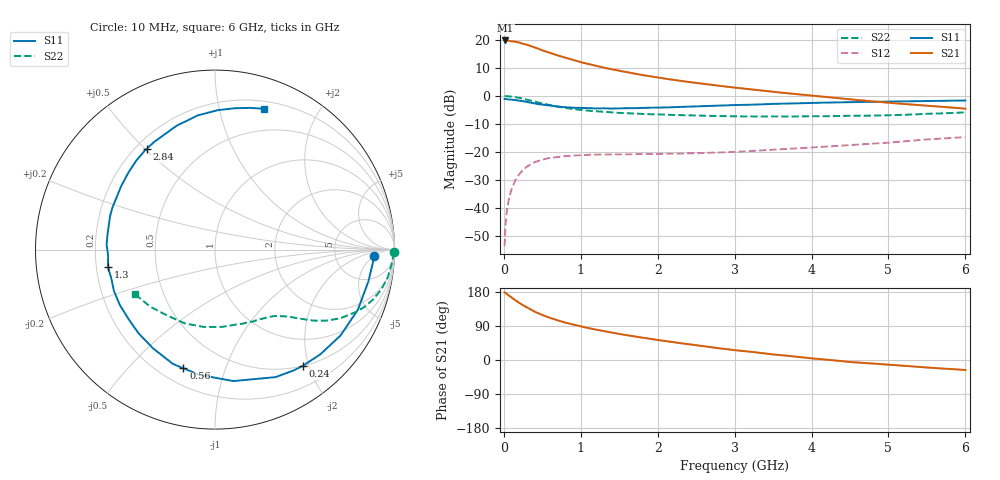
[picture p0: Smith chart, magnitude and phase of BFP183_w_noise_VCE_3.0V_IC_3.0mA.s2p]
! Infineon Technologies  Discrete & RF Semiconductors
! BFP183
! VCE = 3.0 V,  IC =  3.0 mA
! Common Emitter S-Parameters:  Jan 2016
# GHz  S  MA  R  50
!  f  S11  S21  S12  S22
! GHz  MAG  ANG  MAG  ANG  MAG  ANG  MAG  ANG
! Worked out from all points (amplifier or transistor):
!   210 points, 10 MHz to 6 GHz, reference 50 ohm
!   highest |S21| = 19.8 dB at 20 MHz (marker M1)
!   |S21| within 3 dB of that: start of sweep to 451.3 MHz
!   unconditionally stable (mu >= 1): 1.887 GHz to 5.866 GHz
!   at 185 MHz: K = 0.12, MSG = 23.8 dB, |S12| = -28.5 dB
!   at 1.52 GHz: K = 0.84, MSG = 14.8 dB, |S12| = -20.8 dB
!   at 6 GHz: K = 0.97, MSG = 5.1 dB, |S12| = -14.7 dB
!   lowest NFmin = 1.10 dB at 450 MHz
!   S11 on the Smith chart (normalised r, x): 10 MHz: 15, -5; 240 MHz: 0.50, -1.91; 560 MHz: 0.29, -0.73; 1.3 GHz: 0.25, -0.08; 2.84 GHz: 0.24, +0.50; 6 GHz: 0.27, +1.37
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0.01  0.8845 -2.2  9.676 178.7  0.0021 86.7  0.9961 -0.9
0.02  0.8829 -4.7  9.769 177.5  0.0046 79.8  0.9939 -1.9
0.05  0.8729 -11.7  9.764 172.4  0.0112 84.1  0.9882 -4.6
0.07  0.8653 -16.1  9.614 169.5  0.0153 80.2  0.982 -6.4
0.15  0.8474 -34.4  9.289 157.6  0.0313 71.4  0.9529 -13.5
0.2  0.8275 -44.9  8.966 150.8  0.0405 66.2  0.9255 -17.3
0.24  0.8116 -52.9  8.596 145.7  0.0465 61.9  0.9001 -20.1
0.3  0.7865 -64.6  8.204 138.7  0.0551 56.3  0.8595 -23.8
0.4  0.7396 -82.0  7.379 127.5  0.066 48.3  0.794 -28.9
0.5  0.7032 -97.3  6.517 118.6  0.0733 41.9  0.7347 -32.6
0.56  0.6842 -104.9  6.134 114.3  0.0765 38.9  0.7057 -34.2
0.7  0.6496 -122.0  5.279 104.5  0.0821 33.2  0.6447 -37.3
0.8  0.6315 -132.5  4.828 98.5  0.0846 30.2  0.6118 -39.0
1.02  0.6116 -151.5  3.944 87.7  0.0882 24.9  0.5601 -41.9
1.3  0.604 -170.8  3.188 76.2  0.0909 21.2  0.5208 -45.4
1.6  0.6048 172.1  2.657 65.4  0.0913 19.1  0.4922 -49.0
2.02  0.6203 152.9  2.108 52.3  0.093 19.2  0.4682 -55.0
2.84  0.6779 124.2  1.491 29.9  0.0988 22.0  0.4396 -70.2
3.1  0.6929 117.0  1.363 24.0  0.1024 23.5  0.4324 -75.9
4.1  0.7574 95.5  0.985 2.6  0.1231 25.6  0.4352 -101.1
5.1  0.7983 80.8  0.738 -13.9  0.1513 25.2  0.4566 -128.3
6  0.8313 70.7  0.594 -26.4  0.1847 19.3  0.5106 -151.0
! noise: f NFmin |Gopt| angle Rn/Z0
0.45  1.1  0.37  35  0.3
0.9  1.15  0.34  85  0.23
1.8  1.9  0.35  160  0.13
